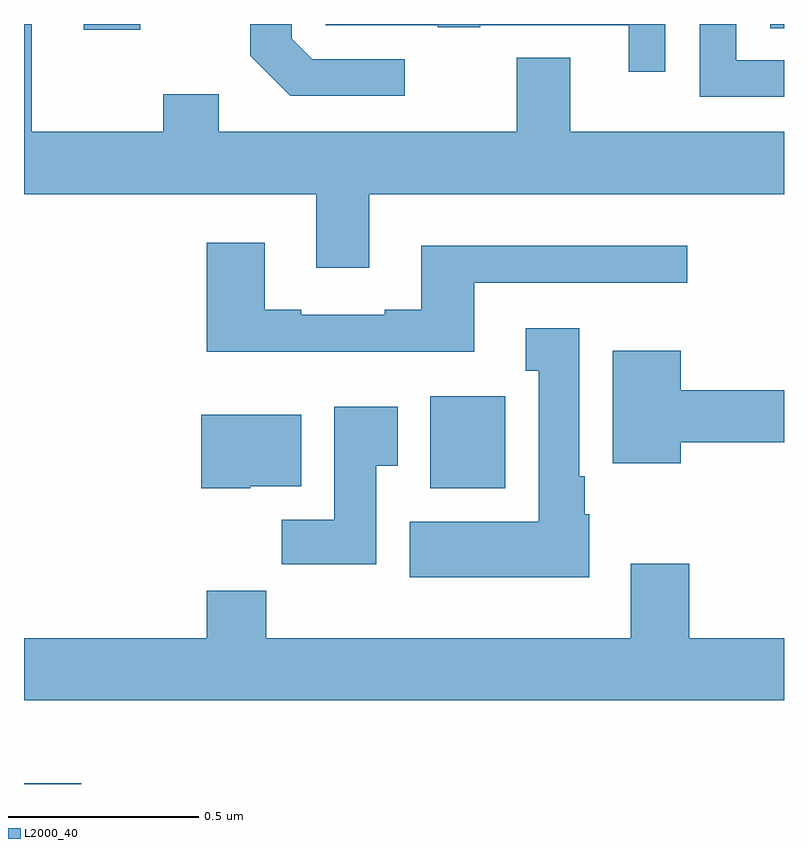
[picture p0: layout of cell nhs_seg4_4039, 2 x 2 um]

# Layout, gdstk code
import gdstk
lib = gdstk.Library(unit=1e-6, precision=1e-09)
def R(c, l, rs):  # rectangles x0, y0, x1, y1
    for r in rs: c.add(gdstk.rectangle(r[:2], r[2:], *l))
def P(c, l, *ps):  # polygons
    for p in ps: c.add(gdstk.Polygon(p, *l))
L2000_40 = (2000, 40)

nhs_seg4_4039 = lib.new_cell('nhs_seg4_4039')
R(nhs_seg4_4039, L2000_40, [(160,829.9,160.15,829.902), (161.069,830.678,161.266,830.92), (160.157,831.885,160.306,831.9), (161.964,831.889,162,831.9)])
P(nhs_seg4_4039, L2000_40, [(160.909,831.452),(162,831.452),(162,831.616),(161.437,831.616),(161.437,831.811),(161.297,831.811),(161.297,831.616),(160.513,831.616),(160.513,831.715),(160.366,831.715),(160.366,831.616),(160.021,831.616),(160.021,831.9),(160,831.9),(160,831.452),(160.769,831.452),(160.769,831.258),(160.909,831.258)],
  [(161.687,831.9),(160.794,831.9),(160.794,831.897),(161.089,831.897),(161.089,831.892),(161.201,831.892),(161.201,831.897),(161.591,831.897),(161.591,831.774),(161.687,831.774)],
  [(161.002,831.807),(160.758,831.807),(160.704,831.861),(160.704,831.9),(160.596,831.9),(160.596,831.817),(160.701,831.711),(161.002,831.711)],
  [(162,831.804),(161.874,831.804),(161.874,831.9),(161.778,831.9),(161.778,831.708),(162,831.708)],
  [(161.185,831.219),(161.746,831.219),(161.746,831.316),(161.045,831.316),(161.045,831.148),(160.949,831.148),(160.949,831.135),(160.729,831.135),(160.729,831.148),(160.633,831.148),(160.633,831.325),(160.481,831.325),(160.481,831.038),(161.185,831.038)],
  [(161.488,830.61),(161.476,830.61),(161.476,830.71),(161.461,830.71),(161.461,831.1),(161.321,831.1),(161.321,830.987),(161.354,830.987),(161.354,830.59),(161.015,830.59),(161.015,830.444),(161.488,830.444)],
  [(161.728,830.8),(162,830.8),(162,830.936),(161.728,830.936),(161.728,831.04),(161.549,831.04),(161.549,830.744),(161.728,830.744)],
  [(160.927,830.737),(160.984,830.737),(160.984,830.893),(160.817,830.893),(160.817,830.596),(160.678,830.596),(160.678,830.478),(160.927,830.478)],
  [(160.596,830.684),(160.729,830.684),(160.729,830.872),(160.466,830.872),(160.466,830.678),(160.596,830.678)],
  [(162,830.284),(161.75,830.284),(161.75,830.479),(161.597,830.479),(161.597,830.284),(160.637,830.284),(160.637,830.408),(160.481,830.408),(160.481,830.284),(160,830.284),(160,830.12),(162,830.12)])

lib.write_gds('nhs_seg4_4039.gds')
